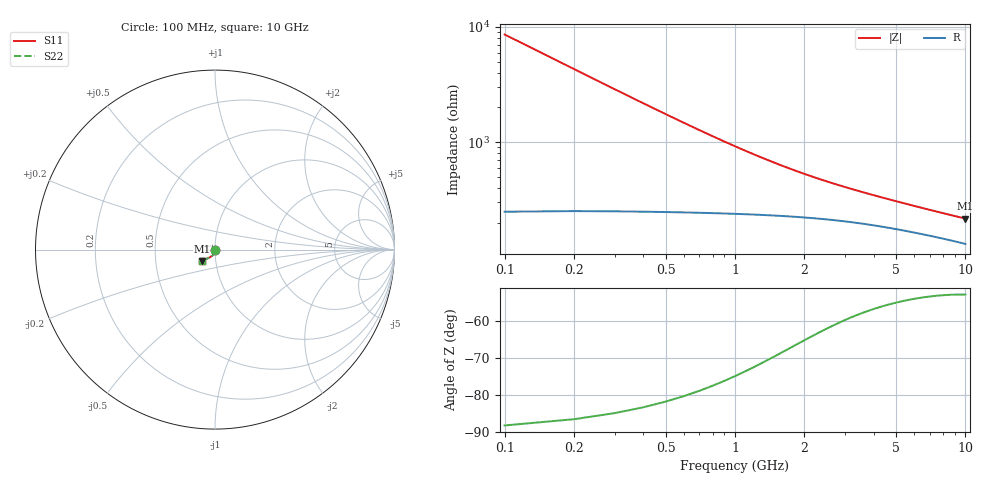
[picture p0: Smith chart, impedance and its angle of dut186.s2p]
! Touchstone file exported from HFSS 2024.1.0
!  File:  C:/UserFiles/LocalFiles/RDL_TSV_Batchsim/temp_TSV1_186_1778756632.aedt
!  Generated:  07:07:08 PM May 14, 2026
!  Design:  TSV1
!  Project:  temp_TSV1_186_1778756632
!  Setup:  Setup1
!  Solution:  Sweep
! Variables:
!  dtsv = 21.44um
!  hbump = 3um
!  htsv = 71.19um
!  lrdl = 252.1521522um
!  p = 40
!  p1 = 49.77um
!  t = 500um
!  trdl = 3um
!  wrdl = 24.89489489um
# GHz S MA R 50.000000
! Terminal data exported
! Port[1] = TSV22_T1
! Port[2] = TSV22_T2
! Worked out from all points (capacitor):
!   100 points, 100 MHz to 10 GHz, reference 50 ohm
!   read as one part in shunt: C = 185 fF near 100 MHz
!   lowest |Z| = 217 ohm at 10 GHz (marker M1)
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0.1  0.002665 -90.3  0.9998 -0.2  0.9998 -0.2  0.002665 -90.3
! Gamma 0 0 0 0
! Port Impedance 50 0 50 0
0.2  0.005321 -93.0  0.9996 -0.4  0.9996 -0.4  0.005321 -93.0
0.3  0.00796 -95.1  0.9991 -0.5  0.9991 -0.5  0.00796 -95.1
0.4  0.01057 -97.1  0.9985 -0.7  0.9985 -0.7  0.01057 -97.1
0.5  0.01313 -98.9  0.9977 -0.9  0.9977 -0.9  0.01313 -98.9
0.6  0.01563 -100.6  0.9968 -1.0  0.9968 -1.0  0.01563 -100.6
0.7  0.01808 -102.3  0.9958 -1.2  0.9958 -1.2  0.01808 -102.3
0.8  0.02045 -104.0  0.9948 -1.3  0.9948 -1.3  0.02045 -104.0
0.9  0.02274 -105.5  0.9936 -1.5  0.9936 -1.5  0.02274 -105.5
1.1  0.02709 -108.5  0.9911 -1.7  0.9911 -1.7  0.02709 -108.5
1.4  0.03299 -112.5  0.9872 -2.1  0.9872 -2.1  0.03299 -112.5
1.6  0.03653 -114.8  0.9846 -2.3  0.9846 -2.3  0.03653 -114.8
1.8  0.03978 -116.9  0.982 -2.5  0.982 -2.5  0.03978 -116.9
2.1  0.04416 -119.7  0.9783 -2.7  0.9783 -2.7  0.04416 -119.7
2.5  0.04924 -122.8  0.9737 -3.0  0.9737 -3.0  0.04924 -122.8
2.9  0.05363 -125.2  0.9695 -3.2  0.9695 -3.2  0.05363 -125.2
3.4  0.05842 -127.6  0.9649 -3.5  0.9649 -3.5  0.05842 -127.6
4.2  0.06495 -130.5  0.9586 -3.8  0.9586 -3.8  0.06495 -130.5
5.1  0.07116 -132.8  0.9527 -4.2  0.9527 -4.2  0.07116 -132.8
6.7  0.08032 -135.5  0.9442 -4.8  0.9442 -4.8  0.08032 -135.5
8.4  0.08828 -137.3  0.9371 -5.4  0.9371 -5.4  0.08828 -137.3
10  0.09464 -138.5  0.9317 -6.0  0.9317 -6.0  0.09464 -138.5
